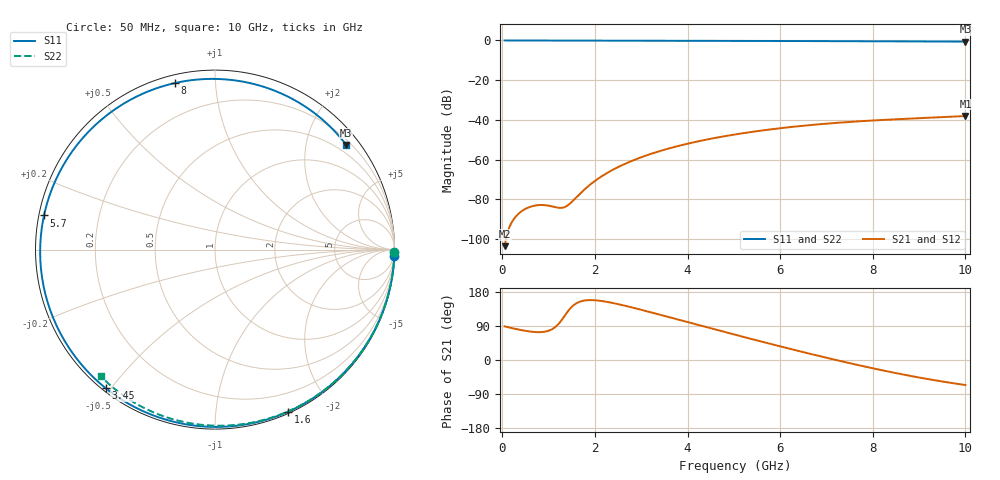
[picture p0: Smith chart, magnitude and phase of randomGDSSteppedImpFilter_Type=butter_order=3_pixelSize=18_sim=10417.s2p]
! freq	dB(S11)	phase(S11)	dB(S12)	phase(S12)
!  dB(S21)	phase(S21)	dB(S22)	phase(S22)
!S-par simulation data
#  GHz  S  DB  R 50
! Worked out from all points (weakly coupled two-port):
!   200 points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, 50 MHz to 10 GHz, reference 50 ohm
!   highest |S21| = -38.06 dB at 10 GHz (marker M1); lowest = -103.6 dB at 50 MHz (marker M2)
!   lowest |S11| = -0.6 dB at 10 GHz (marker M3), VSWR 29.87, Z = 15.2 + j142 ohm
!   |S11| at or under -10 dB: nowhere
!   |S22| runs from -0.4 to 0.0 dB; largest |S21 - S12| = 0
!   S11 on the Smith chart (normalised r, x): 50 MHz: 0, -53; 1.6 GHz: 0.02, -1.55; 3.45 GHz: 0.01, -0.48; 5.7 GHz: 0.01, +0.10; 8 GHz: 0.04, +0.79; 10 GHz: 0.30, +2.83
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0.05  -0.00 -2.2  -103.58 88.7  -103.58 88.7  -0.00 -0.8
0.4  -0.02 -17.1  -86.27 79.2  -86.27 79.2  -0.01 -6.1
0.75  -0.04 -31.8  -82.98 73.5  -82.98 73.5  -0.01 -11.4
1.15  -0.06 -48.1  -83.97 87.5  -83.97 87.5  -0.02 -17.4
1.55  -0.08 -63.8  -80.17 145.5  -80.17 145.5  -0.03 -23.3
1.6  -0.08 -65.7  -78.99 149.6  -78.99 149.6  -0.03 -24.1
1.75  -0.09 -71.4  -75.56 156.4  -75.56 156.4  -0.03 -26.3
2.05  -0.10 -82.3  -69.91 157.1  -69.91 157.1  -0.04 -30.7
2.45  -0.11 -96.3  -64.35 148.8  -64.35 148.8  -0.05 -36.5
2.9  -0.13 -111.2  -59.69 135.7  -59.69 135.7  -0.06 -43.0
3.4  -0.14 -126.8  -55.71 119.7  -55.71 119.7  -0.07 -50.1
3.45  -0.15 -128.3  -55.36 118.0  -55.36 118.0  -0.07 -50.8
4.25  -0.18 -151.6  -50.69 91.8  -50.69 91.8  -0.09 -61.8
5.05  -0.22 -173.7  -47.24 65.9  -47.24 65.9  -0.11 -72.5
5.7  -0.25 168.7  -45.06 45.3  -45.06 45.3  -0.13 -80.9
6.2  -0.28 155.1  -43.67 29.9  -43.67 29.9  -0.16 -87.2
6.7  -0.31 141.3  -42.50 14.8  -42.50 14.8  -0.18 -93.4
7.4  -0.36 121.3  -41.18 -5.5  -41.18 -5.5  -0.22 -101.9
8  -0.41 103.4  -40.30 -21.9  -40.30 -21.9  -0.26 -109.1
8.35  -0.43 92.6  -39.86 -30.9  -39.86 -30.9  -0.29 -113.2
9.15  -0.49 66.9  -38.98 -49.5  -38.98 -49.5  -0.36 -122.4
10  -0.58 38.6  -38.06 -66.0  -38.06 -66.0  -0.44 -132.1
